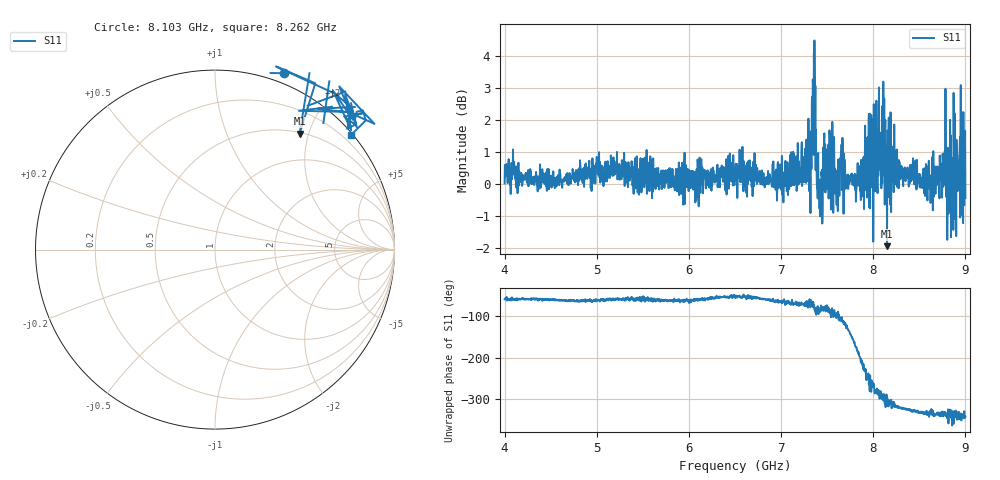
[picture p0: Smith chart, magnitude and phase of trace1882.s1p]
! Created with skrf 1.8.0 (http://scikit-rf.org).
# Hz S RI R 50.0
!freq ReS11 ImS11
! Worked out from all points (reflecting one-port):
!   1601 points, 4 GHz to 9 GHz, reference 50 ohm
!   lowest |S11| = -1.9 dB at 8.15 GHz (marker M1), VSWR 8.98, Z = 25.9 + j92.7 ohm
!   phase of S11 starts at -58 deg and turns -284 deg over the sweep
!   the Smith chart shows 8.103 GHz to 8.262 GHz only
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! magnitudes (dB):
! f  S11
! 4 GHz  0.0
! 4.625 GHz  -0.1
! 5.25 GHz  0.1
! 5.875 GHz  0.1
! 6.5 GHz  0.3
! 7.038 GHz  0.1
! 7.125 GHz  0.5
! 7.306 GHz  0.7
! 7.328 GHz  0.5
! 7.347 GHz  3.1
! 7.369 GHz  1.5
! 7.4 GHz  0.8
! 7.428 GHz  -0.2
! 7.512 GHz  1.2
! 7.609 GHz  0.3
! 7.662 GHz  -0.1
! 7.75 GHz  0.1
! 7.881 GHz  0.2
! 7.962 GHz  2.2
! 7.978 GHz  2.1
! 8.106 GHz  0.3
! 8.15 GHz  -1.9
! 8.375 GHz  0.2
! 8.612 GHz  0.3
! 8.775 GHz  1.0
! 8.844 GHz  -1.7
! 8.956 GHz  0.0
! 9 GHz  -0.4
